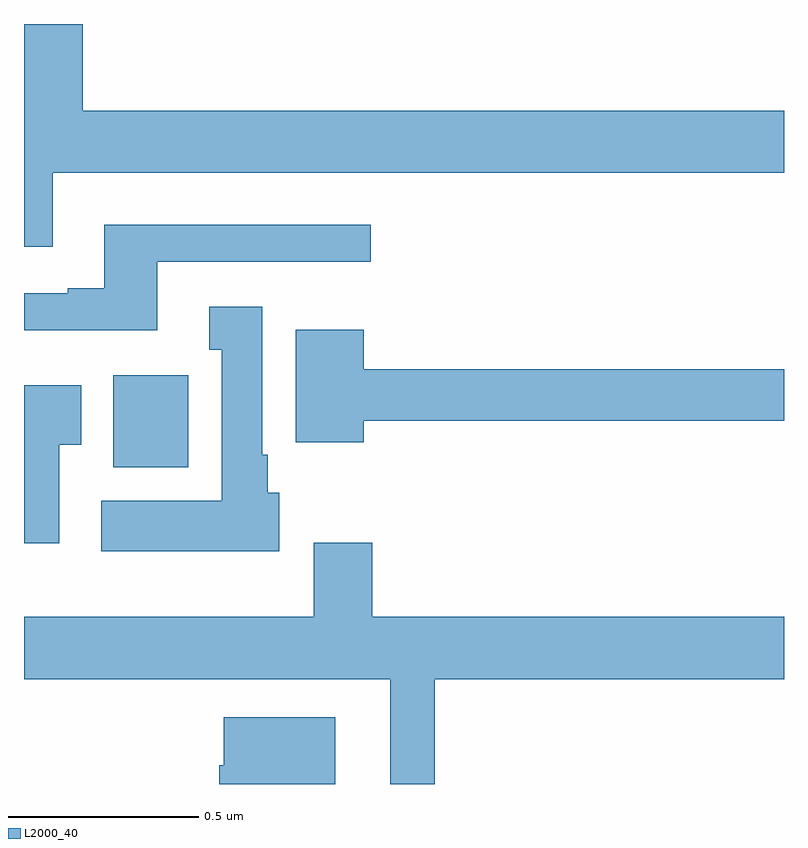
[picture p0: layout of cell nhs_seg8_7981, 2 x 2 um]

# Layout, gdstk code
import gdstk
lib = gdstk.Library(unit=1e-6, precision=1e-09)
def R(c, l, rs):  # rectangles x0, y0, x1, y1
    for r in rs: c.add(gdstk.rectangle(r[:2], r[2:], *l))
def P(c, l, *ps):  # polygons
    for p in ps: c.add(gdstk.Polygon(p, *l))
L2000_40 = (2000, 40)

nhs_seg8_7981 = lib.new_cell('nhs_seg8_7981')
R(nhs_seg8_7981, L2000_40, [(217.235,1107.734,217.432,1107.976)])
P(nhs_seg8_7981, L2000_40, [(217.075,1108.508),(219,1108.508),(219,1108.672),(217.154,1108.672),(217.154,1108.9),(217.001,1108.9),(217.001,1108.672),(217,1108.672),(217,1108.314),(217.075,1108.314)],
  [(217.351,1108.275),(217.912,1108.275),(217.912,1108.372),(217.211,1108.372),(217.211,1108.204),(217.115,1108.204),(217.115,1108.191),(217,1108.191),(217,1108.094),(217.351,1108.094)],
  [(217.672,1107.666),(217.642,1107.666),(217.642,1107.766),(217.627,1107.766),(217.627,1108.156),(217.487,1108.156),(217.487,1108.043),(217.52,1108.043),(217.52,1107.646),(217.203,1107.646),(217.203,1107.512),(217.672,1107.512)],
  [(217.894,1107.856),(219,1107.856),(219,1107.992),(217.894,1107.992),(217.894,1108.096),(217.715,1108.096),(217.715,1107.8),(217.894,1107.8)],
  [(217.093,1107.793),(217.15,1107.793),(217.15,1107.949),(217,1107.949),(217,1107.534),(217.093,1107.534)],
  [(218.081,1107.176),(219,1107.176),(219,1107.34),(217.916,1107.34),(217.916,1107.535),(217.763,1107.535),(217.763,1107.34),(217,1107.34),(217,1107.176),(217.964,1107.176),(217.964,1106.9),(218.081,1106.9)],
  [(217.819,1107.076),(217.526,1107.076),(217.526,1106.949),(217.514,1106.949),(217.514,1106.9),(217.819,1106.9)])

lib.write_gds('nhs_seg8_7981.gds')
